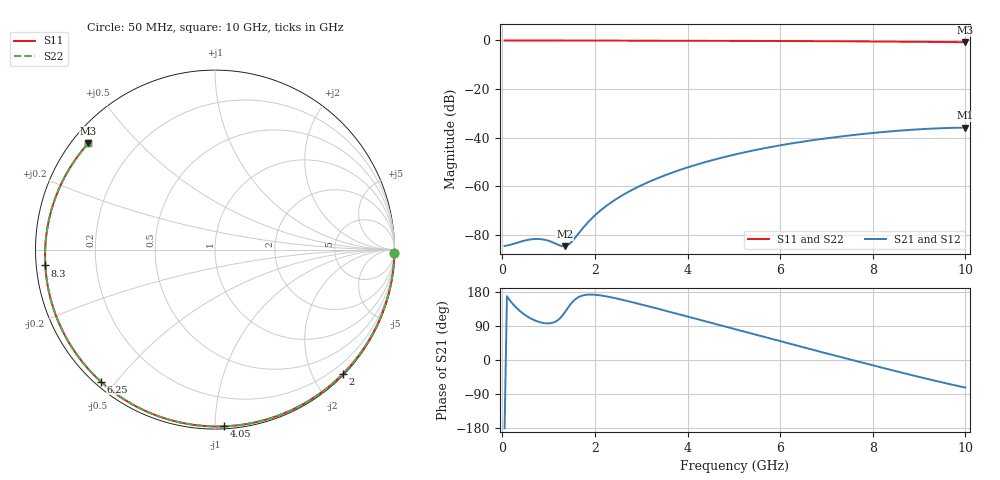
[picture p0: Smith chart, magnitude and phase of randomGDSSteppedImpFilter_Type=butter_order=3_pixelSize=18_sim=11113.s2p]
! freq	dB(S11)	phase(S11)	dB(S12)	phase(S12)
!  dB(S21)	phase(S21)	dB(S22)	phase(S22)
!S-par simulation data
#  GHz  S  DB  R 50
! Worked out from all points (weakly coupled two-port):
!   200 points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, 50 MHz to 10 GHz, reference 50 ohm
!   highest |S21| = -35.82 dB at 10 GHz (marker M1); lowest = -84.5 dB at 1.35 GHz (marker M2)
!   lowest |S11| = -0.7 dB at 10 GHz (marker M3), VSWR 24.38, Z = 2.32 + j18.2 ohm
!   |S11| at or under -10 dB: nowhere
!   |S22| runs from -0.7 to 0.0 dB; largest |S21 - S12| = 0
!   S11 on the Smith chart (normalised r, x): 50 MHz: open; 2 GHz: 0.02, -2.46; 4.05 GHz: 0.01, -1.05; 6.25 GHz: 0.02, -0.46; 8.3 GHz: 0.03, -0.05; 10 GHz: 0.05, +0.36
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0.05  -0.00 -1.1  -84.46 -180.0  -84.46 -180.0  -0.00 -1.1
0.7  -0.01 -15.7  -81.59 104.7  -81.59 104.7  -0.02 -15.7
1.35  -0.04 -30.1  -84.53 125.7  -84.53 125.7  -0.04 -30.1
1.6  -0.04 -35.6  -80.41 162.5  -80.41 162.5  -0.04 -35.6
1.75  -0.05 -38.8  -76.88 170.7  -76.88 170.7  -0.05 -38.8
2  -0.06 -44.2  -71.88 172.2  -71.88 172.2  -0.06 -44.2
2.3  -0.06 -50.7  -67.24 166.7  -67.24 166.7  -0.06 -50.7
2.6  -0.07 -57.0  -63.54 158.7  -63.54 158.7  -0.07 -57.0
2.95  -0.08 -64.4  -60.00 148.2  -60.00 148.2  -0.08 -64.4
3.4  -0.10 -73.7  -56.25 134.0  -56.25 134.0  -0.10 -73.7
4.05  -0.12 -86.9  -51.88 113.0  -51.88 113.0  -0.12 -86.9
5.05  -0.17 -106.9  -46.74 80.4  -46.74 80.4  -0.17 -106.9
5.65  -0.20 -118.8  -44.33 60.8  -44.33 60.8  -0.20 -118.8
6.25  -0.24 -130.8  -42.30 41.4  -42.30 41.4  -0.24 -130.8
6.7  -0.28 -139.9  -40.99 27.0  -40.99 27.0  -0.28 -139.9
7.55  -0.36 -157.8  -38.92 0.1  -38.92 0.1  -0.36 -157.8
8.3  -0.45 -174.7  -37.49 -23.3  -37.49 -23.3  -0.45 -174.7
8.35  -0.46 -175.9  -37.40 -24.9  -37.40 -24.9  -0.46 -175.9
8.8  -0.52 173.2  -36.74 -38.6  -36.74 -38.6  -0.52 173.2
9.2  -0.58 162.8  -36.29 -50.5  -36.29 -50.5  -0.58 162.8
9.6  -0.64 151.8  -35.98 -62.0  -35.98 -62.0  -0.64 151.8
10  -0.71 139.9  -35.82 -72.8  -35.82 -72.8  -0.71 139.9
